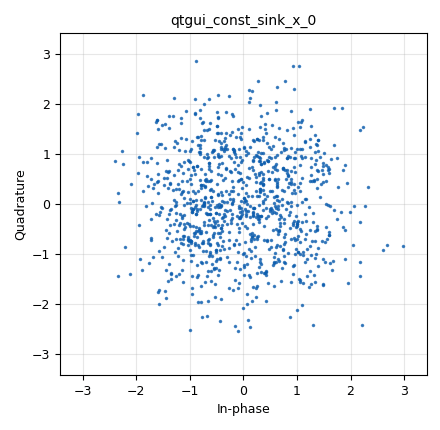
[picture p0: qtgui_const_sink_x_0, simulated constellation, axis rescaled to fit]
options:
  parameters:
    category: Custom
    description: DVB-S2 BCH/LDPC BER Simulation
    generate_options: qt_gui
    id: dvbs2_fec_ber
    output_language: python
    title: DVB-S2 FEC BER
  states: {}

blocks:
- name: Es
  id: variable
  parameters:
    value: '1'
  states: {}
- name: EsN0
  id: variable
  parameters:
    value: 10 ** (esn0_db / 10)
  states: {}
- name: N0
  id: variable
  parameters:
    value: Es / EsN0
  states: {}
- name: byte_rate
  id: variable
  parameters:
    value: bitrate / 8
  states: {}
- name: code_rate
  id: variable
  parameters:
    value: modcod.upper().replace("8PSK", "").replace("QPSK", "")
  states: {}
- name: constellation
  id: variable
  parameters:
    value: modcod.replace(code_rate, "")
  states: {}
- name: esn0_db
  id: variable_qtgui_range
  parameters:
    gui_hint: 0,0,1,1
    label: Es/N0 (dB)
    start: '-3'
    step: '0.1'
    stop: '10'
    value: snr
  states: {}
- name: analog_fastnoise_source_x_0
  id: analog_fastnoise_source_x
  parameters:
    amp: sqrt(N0)
    noise_type: analog.GR_GAUSSIAN
    samples: '8192'
    seed: '0'
    type: complex
  states: {}
- name: analog_random_uniform_source_x_0
  id: analog_random_uniform_source_x
  parameters:
    maximum: '256'
    minimum: '0'
    seed: '0'
    type: byte
  states: {}
- name: bitrate
  id: parameter
  parameters:
    label: bit rate in bps
    short_id: b
    type: intx
    value: '10000000'
  states: {}
- name: blocks_add_xx_0
  id: blocks_add_xx
  parameters:
    type: complex
  states: {}
- name: blocks_char_to_float_0
  id: blocks_char_to_float
  parameters:
    scale: '1'
  states: {}
- name: blocks_char_to_float_0_0
  id: blocks_char_to_float
  parameters:
    scale: '1'
  states: {}
- name: blocks_null_sink_0
  id: blocks_null_sink
  parameters:
    type: complex
  states: {}
- name: blocks_throttle_0
  id: blocks_throttle
  parameters:
    samples_per_second: byte_rate
    type: byte
  states: {}
- name: blocks_unpack_k_bits_bb_0
  id: blocks_unpack_k_bits_bb
  parameters:
    k: '8'
  states: {}
- name: dtv_dvb_bch_bb_0
  id: dtv_dvb_bch_bb
  parameters:
    framesize2: FECFRAME_NORMAL
    rate3: C1_4
    standard: STANDARD_DVBS2
  states: {}
- name: dtv_dvb_ldpc_bb_0
  id: dtv_dvb_ldpc_bb
  parameters:
    constellation: MOD_OTHER
    framesize2: FECFRAME_NORMAL
    rate3: C1_4
    standard: STANDARD_DVBS2
  states: {}
- name: dtv_dvbs2_interleaver_bb_0
  id: dtv_dvbs2_interleaver_bb
  parameters:
    constellation: MOD_QPSK
    framesize: FECFRAME_NORMAL
    rate1: C1_4
  states: {}
- name: dtv_dvbs2_modulator_bc_0
  id: dtv_dvbs2_modulator_bc
  parameters:
    constellation: MOD_QPSK
    framesize: FECFRAME_NORMAL
    interpolation: INTERPOLATION_OFF
    rate1: C1_4
  states: {}
- name: dvbs2rx_bch_decoder_bb_0
  id: dvbs2rx_bch_decoder_bb
  parameters:
    debug_level: '0'
    framesize: frame_size
    outputmode: OM_MESSAGE
    rate: code_rate
    standard: DVB-S2
  states: {}
- name: dvbs2rx_ldpc_decoder_bb_0
  id: dvbs2rx_ldpc_decoder_bb
  parameters:
    constellation: constellation
    debug_level: '0'
    framesize: frame_size
    infomode: INFO_OFF
    max_trials: '25'
    outputmode: OM_MESSAGE
    rate: code_rate
    standard: DVB-S2
  states: {}
- name: dvbs2rx_plframer_cc_0
  id: dvbs2rx_plframer_cc
  parameters:
    acm_vcm: 'True'
    debug_level: '0'
    gold_code: '0'
    pls_code: '0'
    pls_filter_hi: '0xFFFFFFFFFFFFFFFF'
    pls_filter_lo: '0xFFFFFFFFFFFFFFFF'
    sps: '2.0'
  states: {}
- name: dvbs2rx_xfecframe_demapper_cb_0
  id: dvbs2rx_xfecframe_demapper_cb
  parameters:
    constellation: constellation
    framesize: frame_size
    rate: code_rate
  states: {}
- name: fec_ber_bf_0
  id: fec_ber_bf
  parameters:
    test_mode: 'False'
  states: {}
- name: frame_size
  id: parameter
  parameters:
    label: FECFRAME size
    short_id: f
    type: str
    value: normal
  states: {}
- name: import_0
  id: import
  parameters:
    imports: from math import pi, sqrt
  states: {}
- name: modcod
  id: parameter
  parameters:
    label: MODCOD
    short_id: m
    type: str
    value: QPSK1/4
  states: {}
- name: qtgui_const_sink_x_0
  id: qtgui_const_sink_x
  parameters:
    gui_hint: 1,0,6,1
    size: '1024'
    type: complex
  states: {}
- name: qtgui_number_sink_0
  id: qtgui_number_sink
  parameters:
    autoscale: 'True'
    color1: ("blue", "red")
    graph_type: qtgui.NUM_GRAPH_HORIZ
    gui_hint: 13,0,1,1
    label1: BER
    max: '10'
    min: '-10'
    type: float
  states: {}
- name: qtgui_time_sink_x_0
  id: qtgui_time_sink_x
  parameters:
    autoscale: 'True'
    entags: 'False'
    gui_hint: 7,0,6,1
    label1: Input
    label2: Output
    nconnections: '2'
    size: '1024'
    srate: byte_rate
    type: float
  states: {}
- name: snr
  id: parameter
  parameters:
    label: starting SNR (or Es/N0) in dB
    type: eng_float
    value: '0'
  states: {}
- name: virtual_sink_0
  id: virtual_sink
  parameters:
    stream_id: in_bytes
  states: {}
- name: virtual_sink_0_0
  id: virtual_sink
  parameters:
    stream_id: out_bytes
  states: {}
- name: virtual_source_0
  id: virtual_source
  parameters:
    stream_id: out_bytes
  states: {}
- name: virtual_source_1
  id: virtual_source
  parameters:
    stream_id: in_bytes
  states: {}

connections:
- [analog_fastnoise_source_x_0, '0', blocks_add_xx_0, '1']
- [analog_random_uniform_source_x_0, '0', blocks_unpack_k_bits_bb_0, '0']
- [analog_random_uniform_source_x_0, '0', virtual_sink_0, '0']
- [blocks_add_xx_0, '0', dvbs2rx_plframer_cc_0, '0']
- [blocks_add_xx_0, '0', dvbs2rx_xfecframe_demapper_cb_0, '0']
- [blocks_add_xx_0, '0', qtgui_const_sink_x_0, '0']
- [blocks_char_to_float_0, '0', qtgui_time_sink_x_0, '0']
- [blocks_char_to_float_0_0, '0', qtgui_time_sink_x_0, '1']
- [blocks_throttle_0, '0', dtv_dvb_bch_bb_0, '0']
- [blocks_unpack_k_bits_bb_0, '0', blocks_throttle_0, '0']
- [dtv_dvb_bch_bb_0, '0', dtv_dvb_ldpc_bb_0, '0']
- [dtv_dvb_ldpc_bb_0, '0', dtv_dvbs2_interleaver_bb_0, '0']
- [dtv_dvbs2_interleaver_bb_0, '0', dtv_dvbs2_modulator_bc_0, '0']
- [dtv_dvbs2_modulator_bc_0, '0', blocks_add_xx_0, '0']
- [dvbs2rx_bch_decoder_bb_0, '0', virtual_sink_0_0, '0']
- [dvbs2rx_ldpc_decoder_bb_0, '0', dvbs2rx_bch_decoder_bb_0, '0']
- [dvbs2rx_ldpc_decoder_bb_0, llr_pdu, dvbs2rx_xfecframe_demapper_cb_0, llr_pdu]
- [dvbs2rx_plframer_cc_0, '0', blocks_null_sink_0, '0']
- [dvbs2rx_xfecframe_demapper_cb_0, '0', dvbs2rx_ldpc_decoder_bb_0, '0']
- [fec_ber_bf_0, '0', qtgui_number_sink_0, '0']
- [virtual_source_0, '0', blocks_char_to_float_0_0, '0']
- [virtual_source_0, '0', fec_ber_bf_0, '1']
- [virtual_source_1, '0', blocks_char_to_float_0, '0']
- [virtual_source_1, '0', fec_ber_bf_0, '0']

metadata:
  file_format: 1
  grc_version: 3.10.9.2
